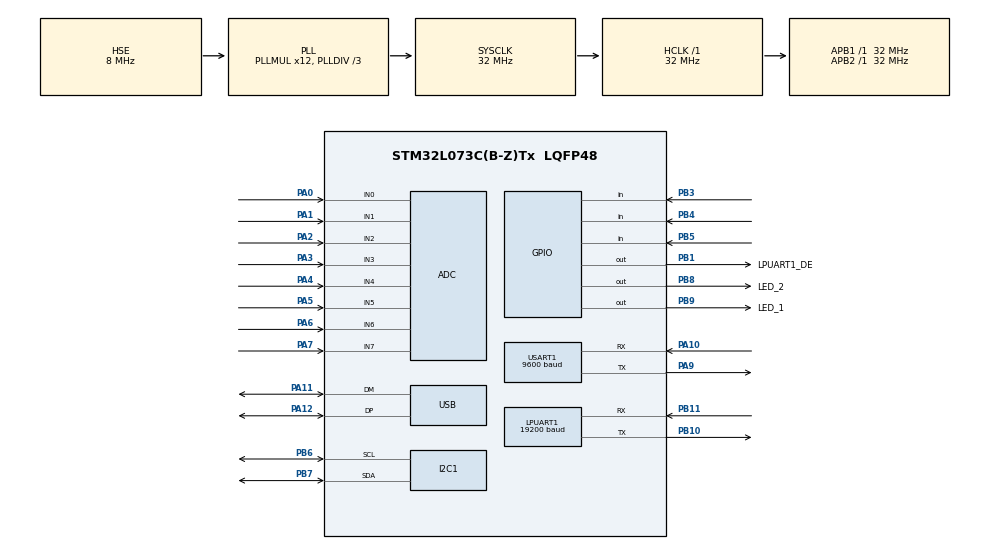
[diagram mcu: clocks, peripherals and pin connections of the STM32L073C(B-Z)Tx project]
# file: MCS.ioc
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ADC.ClockPrescaler=ADC_CLOCK_ASYNC_DIV1
ADC.ContinuousConvMode=ENABLE
ADC.DMAContinuousRequests=ENABLE
ADC.SamplingTime=ADC_SAMPLETIME_39CYCLES_5
Dma.ADC.0.Direction=DMA_PERIPH_TO_MEMORY
Dma.ADC.0.Instance=DMA1_Channel1
Dma.ADC.0.MemDataAlignment=DMA_MDATAALIGN_HALFWORD
Dma.ADC.0.MemInc=DMA_MINC_ENABLE
Dma.ADC.0.Mode=DMA_CIRCULAR
Dma.ADC.0.PeriphDataAlignment=DMA_PDATAALIGN_HALFWORD
Dma.ADC.0.PeriphInc=DMA_PINC_DISABLE
Dma.ADC.0.Priority=DMA_PRIORITY_MEDIUM
Dma.Request0=ADC
I2C1.Timing=0x00707CBB
LPUART1.BaudRate=19200
LPUART1.WordLength=UART_WORDLENGTH_8B
Mcu.Family=STM32L0
Mcu.Name=STM32L073C(B-Z)Tx
Mcu.Package=LQFP48
NVIC.DMA1_Channel1_IRQn=true\:0\:0\:false\:false\:true\:false\:true
NVIC.TIM7_IRQn=true\:0\:0\:false\:false\:true\:true\:true
NVIC.USART1_IRQn=true\:0\:0\:false\:false\:true\:true\:true
NVIC.USB_IRQn=true\:0\:0\:false\:false\:true\:false\:true
PA0.Mode=IN0
PA0.Signal=ADC_IN0
PA1.Mode=IN1
PA1.Signal=ADC_IN1
PA10.Mode=Asynchronous
PA10.Signal=USART1_RX
PA11.Mode=Device
PA11.Signal=USB_DM
PA12.Mode=Device
PA12.Signal=USB_DP
PA13.Mode=Serial_Wire
PA13.Signal=SYS_SWDIO
PA14.Mode=Serial_Wire
PA14.Signal=SYS_SWCLK
PA2.Mode=IN2
PA2.Signal=ADC_IN2
PA3.Mode=IN3
PA3.Signal=ADC_IN3
PA4.Mode=IN4
PA4.Signal=ADC_IN4
PA5.Mode=IN5
PA5.Signal=ADC_IN5
PA6.Mode=IN6
PA6.Signal=ADC_IN6
PA7.Mode=IN7
PA7.Signal=ADC_IN7
PA9.Mode=Asynchronous
PA9.Signal=USART1_TX
PB1.GPIO_Label=LPUART1_DE
PB1.Signal=GPIO_Output
PB10.Mode=Asynchronous
PB10.Signal=LPUART1_TX
PB11.Mode=Asynchronous
PB11.Signal=LPUART1_RX
PB3.Signal=GPIO_Input
PB4.Signal=GPIO_Input
PB5.Signal=GPIO_Input
PB6.Mode=I2C
PB6.Signal=I2C1_SCL
PB7.Mode=I2C
PB7.Signal=I2C1_SDA
PB8.GPIO_Label=LED_2
PB8.Signal=GPIO_Output
PB9.GPIO_Label=LED_1
PB9.Signal=GPIO_Output
PC14-OSC32_IN.Mode=LSE-External-Oscillator
PC14-OSC32_IN.Signal=RCC_OSC32_IN
PC15-OSC32_OUT.Mode=LSE-External-Oscillator
PC15-OSC32_OUT.Signal=RCC_OSC32_OUT
PH0-OSC_IN.Mode=HSE-External-Oscillator
PH0-OSC_IN.Signal=RCC_OSC_IN
PH1-OSC_OUT.Mode=HSE-External-Oscillator
PH1-OSC_OUT.Signal=RCC_OSC_OUT
ProjectManager.HeapSize=0x200
ProjectManager.StackSize=0x400
ProjectManager.TargetToolchain=MDK-ARM V5
RCC.AHBFreq_Value=32000000
RCC.APB1Freq_Value=32000000
RCC.APB1TimFreq_Value=32000000
RCC.APB2Freq_Value=32000000
RCC.APB2TimFreq_Value=32000000
RCC.HCLKFreq_Value=32000000
RCC.HSE_VALUE=8000000
RCC.HSI16_VALUE=16000000
RCC.HSI48_VALUE=48000000
RCC.HSI_VALUE=16000000
RCC.MSI_VALUE=2097000
RCC.PLLDIV=RCC_PLLDIV_3
RCC.PLLMUL=RCC_PLLMUL_12
RCC.SYSCLKFreq_VALUE=32000000
RCC.SYSCLKSource=RCC_SYSCLKSOURCE_PLLCLK
RCC.VCOOutputFreq_Value=96000000
TIM7.TIM_MasterOutputTrigger=TIM_TRGO_UPDATE
USART1.BaudRate=9600
USART1.VirtualMode-Asynchronous=VM_ASYNC
USB_DEVICE.CLASS_NAME_FS=CDC
USB_DEVICE.VirtualMode=Cdc
USB_DEVICE.VirtualModeFS=Cdc_FS
VP_TIM7_VS_ClockSourceINT.Mode=Enable_Timer
VP_USB_DEVICE_VS_USB_DEVICE_CDC_FS.Mode=CDC_FS
board=custom

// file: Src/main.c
/* USER CODE BEGIN Header */
/**
  ******************************************************************************
  * @file           : main.c
  * @brief          : Main program body
  ******************************************************************************
  * @attention
  *
  * <h2><center>&copy; Copyright (c) 2020 STMicroelectronics.
  * All rights reserved.</center></h2>
  *
  * This software component is licensed by ST under Ultimate Liberty license
  * SLA0044, the "License"; You may not use this file except in compliance with
  * the License. You may obtain a copy of the License at:
  *                             www.st.com/SLA0044
  *
  ******************************************************************************
  */
/* USER CODE END Header */

#include "main.h"
#include "usb_device.h"

/* USER CODE BEGIN Includes */
/* ----------------------- Modbus includes ----------------------------------*/
#include "mb.h"
#include "mbport.h"

/* USER CODE END Includes */

/* USER CODE BEGIN PD */
/* ----------------------- Defines ------------------------------------------*/
#define REG_INPUT_START           1000
#define REG_INPUT_NREGS           8
#define REG_HOLDING_START         2000
#define REG_HOLDING_NREGS         50
#define REG_COILS_START           0
#define REG_COILS_NREGS           50
#define REG_DISCRETE_COILS_START  100
#define REG_DISCRETE_NREGS        50

/* USER CODE END PD */

ADC_HandleTypeDef hadc;
DMA_HandleTypeDef hdma_adc;

I2C_HandleTypeDef hi2c1;

UART_HandleTypeDef hlpuart1;
UART_HandleTypeDef huart1;

TIM_HandleTypeDef htim7;

/* USER CODE BEGIN PV */
/* ----------------------- Static variables ---------------------------------*/
static UCHAR usRegDiscreteCoilsStart = REG_DISCRETE_COILS_START;
static UCHAR usRegCoilsStart = REG_COILS_START;
static USHORT usRegHoldingStart = REG_HOLDING_START;
static USHORT usRegInputStart = REG_INPUT_START;
static UCHAR usRegDiscreteCoilsBuf[REG_DISCRETE_NREGS];
static UCHAR usRegCoilsBuf[REG_COILS_NREGS];
static USHORT usRegHoldingBuf[REG_HOLDING_NREGS];
static USHORT usRegInputBuf[REG_INPUT_NREGS];

/* USER CODE END PV */

void SystemClock_Config(void);
static void MX_GPIO_Init(void);
static void MX_DMA_Init(void);
static void MX_ADC_Init(void);
static void MX_I2C1_Init(void);
static void MX_LPUART1_UART_Init(void);
static void MX_USART1_UART_Init(void);
static void MX_TIM7_Init(void);

/* USER CODE BEGIN 0 */
uint16_t value_adc[8];
/* USER CODE END 0 */

int main(void)
{
  /* USER CODE BEGIN 1 */
  uint16_t count;
  /* USER CODE END 1 */

  /* MCU Configuration--------------------------------------------------------*/

  /* Reset of all peripherals, Initializes the Flash interface and the Systick. */
  HAL_Init();

  /* Configure the system clock */
  SystemClock_Config();

  /* Initialize all configured peripherals */
  MX_GPIO_Init();
  MX_DMA_Init();
  MX_ADC_Init();
  MX_I2C1_Init();
  MX_LPUART1_UART_Init();
  MX_USART1_UART_Init();
  MX_USB_DEVICE_Init();
  MX_TIM7_Init();
  /* USER CODE BEGIN 2 */
    eMBErrorCode    eStatus;
    eStatus = eMBInit( MB_RTU, 1, 18, 9600, MB_PAR_NONE );
    /* Enable the Modbus Protocol Stack. */
    eStatus = eMBEnable(  );

 //Aqui é feita a inicialização do DMA do ADC
  HAL_ADC_Start_DMA(&hadc,(uint32_t *) value_adc,8);

  /* USER CODE END 2 */

  /* Infinite loop */
  /* USER CODE BEGIN WHILE */
  usRegInputBuf[0] = 0;
  usRegInputBuf[1] = 0;
  usRegInputBuf[2] = 0;
  usRegInputBuf[3] = 0;
  usRegInputBuf[4] = 0;
  usRegInputBuf[5] = 0;
  usRegInputBuf[6] = 0;
  usRegInputBuf[7] = 0;
  //count = 0;

  while (1)
  {
    /* USER CODE END WHILE */

    /* USER CODE BEGIN 3 */
    ( void )eMBPoll(  );
    /* Here we simply count the number of poll cycles. */
    usRegInputBuf[0] = value_adc[0];
    usRegInputBuf[1] = value_adc[1];
    usRegInputBuf[2] = 111;
    usRegInputBuf[3] = 222;
    usRegInputBuf[4] = 333;
    usRegInputBuf[5] = 444;
    usRegInputBuf[6] = 555;
    usRegInputBuf[7] = 666;
  }
  /* USER CODE END 3 */
}

void SystemClock_Config(void)
{
  RCC_OscInitTypeDef RCC_OscInitStruct = {0};
  RCC_ClkInitTypeDef RCC_ClkInitStruct = {0};
  RCC_PeriphCLKInitTypeDef PeriphClkInit = {0};

  /** Configure the main internal regulator output voltage
  */
  __HAL_PWR_VOLTAGESCALING_CONFIG(PWR_REGULATOR_VOLTAGE_SCALE1);
  /** Initializes the CPU, AHB and APB busses clocks
  */
  RCC_OscInitStruct.OscillatorType = RCC_OSCILLATORTYPE_HSI|RCC_OSCILLATORTYPE_HSE;
  RCC_OscInitStruct.HSEState = RCC_HSE_ON;
  RCC_OscInitStruct.HSIState = RCC_HSI_ON;
  RCC_OscInitStruct.HSICalibrationValue = RCC_HSICALIBRATION_DEFAULT;
  RCC_OscInitStruct.PLL.PLLState = RCC_PLL_ON;
  RCC_OscInitStruct.PLL.PLLSource = RCC_PLLSOURCE_HSE;
  RCC_OscInitStruct.PLL.PLLMUL = RCC_PLLMUL_12;
  RCC_OscInitStruct.PLL.PLLDIV = RCC_PLLDIV_3;
  if (HAL_RCC_OscConfig(&RCC_OscInitStruct) != HAL_OK)
  {
    Error_Handler();
  }
  /** Initializes the CPU, AHB and APB busses clocks
  */
  RCC_ClkInitStruct.ClockType = RCC_CLOCKTYPE_HCLK|RCC_CLOCKTYPE_SYSCLK
                              |RCC_CLOCKTYPE_PCLK1|RCC_CLOCKTYPE_PCLK2;
  RCC_ClkInitStruct.SYSCLKSource = RCC_SYSCLKSOURCE_PLLCLK;
  RCC_ClkInitStruct.AHBCLKDivider = RCC_SYSCLK_DIV1;
  RCC_ClkInitStruct.APB1CLKDivider = RCC_HCLK_DIV1;
  RCC_ClkInitStruct.APB2CLKDivider = RCC_HCLK_DIV1;

  if (HAL_RCC_ClockConfig(&RCC_ClkInitStruct, FLASH_LATENCY_1) != HAL_OK)
  {
    Error_Handler();
  }
  PeriphClkInit.PeriphClockSelection = RCC_PERIPHCLK_USART1|RCC_PERIPHCLK_LPUART1
                              |RCC_PERIPHCLK_I2C1|RCC_PERIPHCLK_USB;
  PeriphClkInit.Usart1ClockSelection = RCC_USART1CLKSOURCE_PCLK2;
  PeriphClkInit.Lpuart1ClockSelection = RCC_LPUART1CLKSOURCE_PCLK1;
  PeriphClkInit.I2c1ClockSelection = RCC_I2C1CLKSOURCE_PCLK1;
  PeriphClkInit.UsbClockSelection = RCC_USBCLKSOURCE_PLL;
  if (HAL_RCCEx_PeriphCLKConfig(&PeriphClkInit) != HAL_OK)
  {
    Error_Handler();
  }
}

static void MX_ADC_Init(void)
{

  ADC_ChannelConfTypeDef sConfig = {0};

  /** Configure the global features of the ADC (Clock, Resolution, Data Alignment and number of conversion)
  */
  hadc.Instance = ADC1;
  hadc.Init.OversamplingMode = DISABLE;
  hadc.Init.ClockPrescaler = ADC_CLOCK_ASYNC_DIV1;
  hadc.Init.Resolution = ADC_RESOLUTION_12B;
  hadc.Init.SamplingTime = ADC_SAMPLETIME_39CYCLES_5;
  hadc.Init.ScanConvMode = ADC_SCAN_DIRECTION_FORWARD;
  hadc.Init.DataAlign = ADC_DATAALIGN_RIGHT;
  hadc.Init.ContinuousConvMode = ENABLE;
  hadc.Init.DiscontinuousConvMode = DISABLE;
  hadc.Init.ExternalTrigConvEdge = ADC_EXTERNALTRIGCONVEDGE_NONE;
  hadc.Init.ExternalTrigConv = ADC_SOFTWARE_START;
  hadc.Init.DMAContinuousRequests = ENABLE;
  hadc.Init.EOCSelection = ADC_EOC_SINGLE_CONV;
  hadc.Init.Overrun = ADC_OVR_DATA_PRESERVED;
  hadc.Init.LowPowerAutoWait = DISABLE;
  hadc.Init.LowPowerFrequencyMode = DISABLE;
  hadc.Init.LowPowerAutoPowerOff = DISABLE;
  if (HAL_ADC_Init(&hadc) != HAL_OK)
  {
    Error_Handler();
  }
  /** Configure for the selected ADC regular channel to be converted.
  */
  sConfig.Channel = ADC_CHANNEL_0;
  sConfig.Rank = ADC_RANK_CHANNEL_NUMBER;
  if (HAL_ADC_ConfigChannel(&hadc, &sConfig) != HAL_OK)
  {
    Error_Handler();
  }
  /** Configure for the selected ADC regular channel to be converted.
  */
  sConfig.Channel = ADC_CHANNEL_1;
  if (HAL_ADC_ConfigChannel(&hadc, &sConfig) != HAL_OK)
  {
    Error_Handler();
  }
  /** Configure for the selected ADC regular channel to be converted.
  */
  sConfig.Channel = ADC_CHANNEL_2;
  if (HAL_ADC_ConfigChannel(&hadc, &sConfig) != HAL_OK)
  {
    Error_Handler();
  }
  /** Configure for the selected ADC regular channel to be converted.
  */
  sConfig.Channel = ADC_CHANNEL_3;
  if (HAL_ADC_ConfigChannel(&hadc, &sConfig) != HAL_OK)
  {
    Error_Handler();
  }
  /** Configure for the selected ADC regular channel to be converted.
  */
  sConfig.Channel = ADC_CHANNEL_4;
  if (HAL_ADC_ConfigChannel(&hadc, &sConfig) != HAL_OK)
  {
    Error_Handler();
  }
  /** Configure for the selected ADC regular channel to be converted.
  */
  sConfig.Channel = ADC_CHANNEL_5;
  if (HAL_ADC_ConfigChannel(&hadc, &sConfig) != HAL_OK)
  {
    Error_Handler();
  }
  /** Configure for the selected ADC regular channel to be converted.
  */
  sConfig.Channel = ADC_CHANNEL_6;
  if (HAL_ADC_ConfigChannel(&hadc, &sConfig) != HAL_OK)
  {
    Error_Handler();
  }
  /** Configure for the selected ADC regular channel to be converted.
  */
  sConfig.Channel = ADC_CHANNEL_7;
  if (HAL_ADC_ConfigChannel(&hadc, &sConfig) != HAL_OK)
  {
    Error_Handler();
  }

}

static void MX_I2C1_Init(void)
{

  hi2c1.Instance = I2C1;
  hi2c1.Init.Timing = 0x00707CBB;
  hi2c1.Init.OwnAddress1 = 0;
  hi2c1.Init.AddressingMode = I2C_ADDRESSINGMODE_7BIT;
  hi2c1.Init.DualAddressMode = I2C_DUALADDRESS_DISABLE;
  hi2c1.Init.OwnAddress2 = 0;
  hi2c1.Init.OwnAddress2Masks = I2C_OA2_NOMASK;
  hi2c1.Init.GeneralCallMode = I2C_GENERALCALL_DISABLE;
  hi2c1.Init.NoStretchMode = I2C_NOSTRETCH_DISABLE;
  if (HAL_I2C_Init(&hi2c1) != HAL_OK)
  {
    Error_Handler();
  }
  /** Configure Analogue filter
  */
  if (HAL_I2CEx_ConfigAnalogFilter(&hi2c1, I2C_ANALOGFILTER_ENABLE) != HAL_OK)
  {
    Error_Handler();
  }
  /** Configure Digital filter
  */
  if (HAL_I2CEx_ConfigDigitalFilter(&hi2c1, 0) != HAL_OK)
  {
    Error_Handler();
  }

}

static void MX_LPUART1_UART_Init(void)
{

  hlpuart1.Instance = LPUART1;
  hlpuart1.Init.BaudRate = 19200;
  hlpuart1.Init.WordLength = UART_WORDLENGTH_8B;
  hlpuart1.Init.StopBits = UART_STOPBITS_1;
  hlpuart1.Init.Parity = UART_PARITY_NONE;
  hlpuart1.Init.Mode = UART_MODE_TX_RX;
  hlpuart1.Init.HwFlowCtl = UART_HWCONTROL_NONE;
  hlpuart1.Init.OneBitSampling = UART_ONE_BIT_SAMPLE_DISABLE;
  hlpuart1.AdvancedInit.AdvFeatureInit = UART_ADVFEATURE_NO_INIT;
  if (HAL_UART_Init(&hlpuart1) != HAL_OK)
  {
    Error_Handler();
  }

}

static void MX_USART1_UART_Init(void)
{

  huart1.Instance = USART1;
  huart1.Init.BaudRate = 9600;
  huart1.Init.WordLength = UART_WORDLENGTH_8B;
  huart1.Init.StopBits = UART_STOPBITS_1;
  huart1.Init.Parity = UART_PARITY_NONE;
  huart1.Init.Mode = UART_MODE_TX_RX;
  huart1.Init.HwFlowCtl = UART_HWCONTROL_NONE;
  huart1.Init.OverSampling = UART_OVERSAMPLING_16;
  huart1.Init.OneBitSampling = UART_ONE_BIT_SAMPLE_DISABLE;
  huart1.AdvancedInit.AdvFeatureInit = UART_ADVFEATURE_NO_INIT;
  if (HAL_UART_Init(&huart1) != HAL_OK)
  {
    Error_Handler();
  }

}

static void MX_TIM7_Init(void)
{

  TIM_MasterConfigTypeDef sMasterConfig = {0};

  htim7.Instance = TIM7;
  htim7.Init.Prescaler = 0;
  htim7.Init.CounterMode = TIM_COUNTERMODE_UP;
  htim7.Init.Period = 0;
  htim7.Init.AutoReloadPreload = TIM_AUTORELOAD_PRELOAD_DISABLE;
  if (HAL_TIM_Base_Init(&htim7) != HAL_OK)
  {
    Error_Handler();
  }
  sMasterConfig.MasterOutputTrigger = TIM_TRGO_UPDATE;
  sMasterConfig.MasterSlaveMode = TIM_MASTERSLAVEMODE_DISABLE;
  if (HAL_TIMEx_MasterConfigSynchronization(&htim7, &sMasterConfig) != HAL_OK)
  {
    Error_Handler();
  }

}

static void MX_DMA_Init(void)
{
  /* DMA controller clock enable */
  __HAL_RCC_DMA1_CLK_ENABLE();

  /* DMA interrupt init */
  /* DMA1_Channel1_IRQn interrupt configuration */
  HAL_NVIC_SetPriority(DMA1_Channel1_IRQn, 0, 0);
  HAL_NVIC_EnableIRQ(DMA1_Channel1_IRQn);

}

static void MX_GPIO_Init(void)
{
  GPIO_InitTypeDef GPIO_InitStruct = {0};

  /* GPIO Ports Clock Enable */
  __HAL_RCC_GPIOC_CLK_ENABLE();
  __HAL_RCC_GPIOH_CLK_ENABLE();
  __HAL_RCC_GPIOA_CLK_ENABLE();
  __HAL_RCC_GPIOB_CLK_ENABLE();

  /*Configure GPIO pin Output Level */
  HAL_GPIO_WritePin(GPIOB, LPUART1_DE_Pin|LED_2_Pin|LED_1_Pin, GPIO_PIN_RESET);

  /*Configure GPIO pins : LPUART1_DE_Pin LED_2_Pin LED_1_Pin */
  GPIO_InitStruct.Pin = LPUART1_DE_Pin|LED_2_Pin|LED_1_Pin;
  GPIO_InitStruct.Mode = GPIO_MODE_OUTPUT_PP;
  GPIO_InitStruct.Pull = GPIO_NOPULL;
  GPIO_InitStruct.Speed = GPIO_SPEED_FREQ_LOW;
  HAL_GPIO_Init(GPIOB, &GPIO_InitStruct);

  /*Configure GPIO pins : PB3 PB4 PB5 */
  GPIO_InitStruct.Pin = GPIO_PIN_3|GPIO_PIN_4|GPIO_PIN_5;
  GPIO_InitStruct.Mode = GPIO_MODE_INPUT;
  GPIO_InitStruct.Pull = GPIO_NOPULL;
  HAL_GPIO_Init(GPIOB, &GPIO_InitStruct);

}

/* USER CODE BEGIN 4 */
eMBErrorCode eMBRegInputCB( UCHAR * pucRegBuffer, USHORT usAddress, USHORT usNRegs )
{
    eMBErrorCode    eStatus = MB_ENOERR;
    int             iRegIndex;

    if(( usAddress >= REG_INPUT_START ) && ( usAddress + usNRegs <= REG_INPUT_START + REG_INPUT_NREGS ))
    {
        iRegIndex = ( int )( usAddress - usRegInputStart );
        while( usNRegs > 0 )
        {
            *pucRegBuffer++ = ( unsigned char )( usRegInputBuf[iRegIndex] >> 8 );
            *pucRegBuffer++ = ( unsigned char )( usRegInputBuf[iRegIndex] & 0xFF );
            iRegIndex++;
            usNRegs--;
        }
    }
    else
    {
        eStatus = MB_ENOREG;
    }
    return eStatus;
}
/****************************************************************************************
*
*****************************************************************************************/
eMBErrorCode eMBRegHoldingCB( UCHAR * pucRegBuffer, USHORT usAddress, USHORT usNRegs, eMBRegisterMode eMode )
{
    //return MB_ENOREG;
 eMBErrorCode eStatus = MB_ENOERR;
 int iRegIndex;

 if((usAddress >= REG_HOLDING_START) && (usAddress + usNRegs <= REG_HOLDING_START + REG_HOLDING_NREGS))
 {
 iRegIndex = (int)(usAddress - usRegHoldingStart);
 switch(eMode)
 {
 /* Pass current register values to the protocol stack. */
 case MB_REG_READ:
 while(usNRegs > 0)
 {
 *pucRegBuffer++ = (unsigned char)(usRegHoldingBuf[iRegIndex] >> 8);
 *pucRegBuffer++ = (unsigned char)(usRegHoldingBuf[iRegIndex] & 0xFF);
 iRegIndex++;
 usNRegs--;
 }
 break;

 /* Update current register values with new values from the
 * protocol stack. */
 case MB_REG_WRITE:
 while(usNRegs > 0)
 {
 usRegHoldingBuf[iRegIndex] = *pucRegBuffer++ << 8;
 usRegHoldingBuf[iRegIndex] |= *pucRegBuffer++;
 iRegIndex++;
 usNRegs--;
 }
 }
 }
 else
 {
 eStatus = MB_ENOREG;
 }
 return eStatus;
}
/****************************************************************************************
*
*****************************************************************************************/
eMBErrorCode eMBRegCoilsCB( UCHAR * pucRegBuffer, USHORT usAddress, USHORT usNCoils, eMBRegisterMode eMode )
{
   // return MB_ENOREG;
    eMBErrorCode eStatus = MB_ENOERR;
    int iRegIndex;

    if((usAddress >= REG_COILS_START) && (usAddress + usNCoils <= REG_COILS_START + REG_COILS_NREGS))
    {
        iRegIndex = (int)(usAddress - usRegCoilsStart);

        switch(eMode)
        {
            case MB_REG_READ:
            {
                while(usNCoils > 0)
                {
                    UCHAR ucResult = xMBUtilGetBits(usRegCoilsBuf, iRegIndex, 1);
                    xMBUtilSetBits(pucRegBuffer, iRegIndex - (usAddress - usRegCoilsStart), 1, ucResult);
                    iRegIndex++;
                    usNCoils--;
                }
                break;
            }
            case MB_REG_WRITE:
            {
                while ( usNCoils > 0 )
                {
                    UCHAR ucResult = xMBUtilGetBits(pucRegBuffer, iRegIndex - (usAddress - usRegCoilsStart), 1);
                    xMBUtilSetBits(usRegCoilsBuf, iRegIndex, 1, ucResult );
                    iRegIndex++;
                    usNCoils--;
                }
                break;
            }
        }
    }
    else
    {
        eStatus = MB_ENOREG;
    }
    return eStatus;
}
/****************************************************************************************
*
*****************************************************************************************/
eMBErrorCode eMBRegDiscreteCB( UCHAR * pucRegBuffer, USHORT usAddress, USHORT usNDiscrete )
{
    //return MB_ENOREG;
 eMBErrorCode eStatus = MB_ENOERR;
 int  iRegIndex;

 if((usAddress >= REG_DISCRETE_COILS_START) && (usAddress + usNDiscrete <= REG_DISCRETE_COILS_START + REG_DISCRETE_NREGS))
 {
 iRegIndex = (int)(usAddress - usRegDiscreteCoilsStart);
 while(usNDiscrete > 0)
 {
 UCHAR ucResult = xMBUtilGetBits(usRegDiscreteCoilsBuf, iRegIndex, 1);
 xMBUtilSetBits(pucRegBuffer, iRegIndex - (usAddress - usRegDiscreteCoilsStart), 1, ucResult);
 iRegIndex++;
 usNDiscrete--;
 }
 }
 else
 {
 eStatus = MB_ENOREG;
 }
 return eStatus;
}
/****************************************************************************************
*
****************************************************************************************/

/* USER CODE END 4 */

void Error_Handler(void)
{
}

/************************ (C) COPYRIGHT STMicroelectronics *****END OF FILE****/
